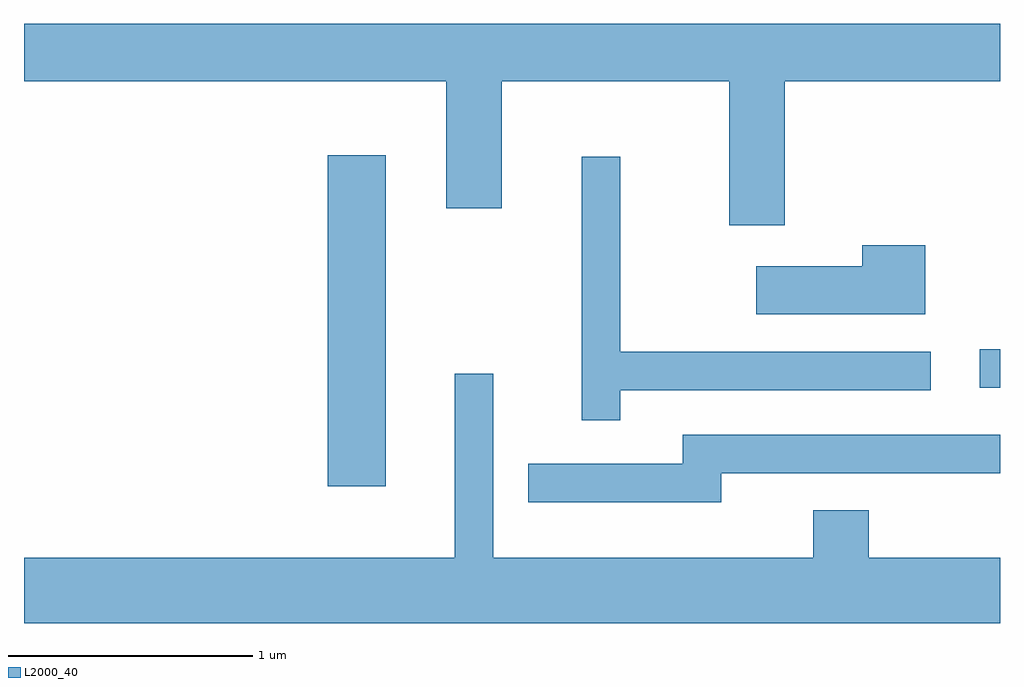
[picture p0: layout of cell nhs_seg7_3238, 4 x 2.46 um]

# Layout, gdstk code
import gdstk
lib = gdstk.Library(unit=1e-6, precision=1e-09)
def R(c, l, rs):  # rectangles x0, y0, x1, y1
    for r in rs: c.add(gdstk.rectangle(r[:2], r[2:], *l))
def P(c, l, *ps):  # polygons
    for p in ps: c.add(gdstk.Polygon(p, *l))
L2000_40 = (2000, 40)

nhs_seg7_3238 = lib.new_cell('nhs_seg7_3238')
R(nhs_seg7_3238, L2000_40, [(284.856,1790.356,285.094,1791.714), (287.528,1790.761,287.611,1790.919)])
P(nhs_seg7_3238, L2000_40, [(286.729,1792.016),(287.611,1792.016),(287.611,1792.252),(283.611,1792.252),(283.611,1792.016),(285.341,1792.016),(285.341,1791.496),(285.569,1791.496),(285.569,1792.016),(286.501,1792.016),(286.501,1791.426),(286.729,1791.426)],
  [(286.054,1790.751),(287.328,1790.751),(287.328,1790.909),(286.054,1790.909),(286.054,1791.708),(285.896,1791.708),(285.896,1790.628),(286.054,1790.628)],
  [(287.304,1791.344),(287.046,1791.344),(287.046,1791.259),(286.611,1791.259),(286.611,1791.061),(287.304,1791.061)],
  [(287.611,1790.064),(287.074,1790.064),(287.074,1790.259),(286.846,1790.259),(286.846,1790.064),(285.534,1790.064),(285.534,1790.818),(285.376,1790.818),(285.376,1790.064),(283.611,1790.064),(283.611,1789.796),(287.611,1789.796)],
  [(286.469,1790.411),(287.611,1790.411),(287.611,1790.569),(286.311,1790.569),(286.311,1790.449),(285.678,1790.449),(285.678,1790.291),(286.469,1790.291)])

lib.write_gds('nhs_seg7_3238.gds')
